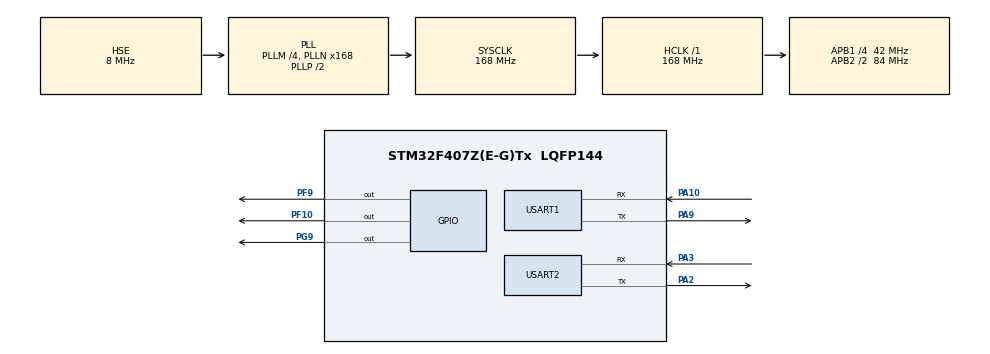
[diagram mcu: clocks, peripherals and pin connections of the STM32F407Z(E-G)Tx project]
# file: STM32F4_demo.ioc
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Mcu.Family=STM32F4
Mcu.Name=STM32F407Z(E-G)Tx
Mcu.Package=LQFP144
NVIC.PriorityGroup=NVIC_PRIORITYGROUP_4
NVIC.TIM6_DAC_IRQn=true\:0\:0\:false\:false\:true\:true\:true\:true
NVIC.TIM7_IRQn=true\:0\:0\:false\:false\:true\:true\:true\:true
NVIC.USART1_IRQn=true\:0\:0\:false\:false\:true\:true\:true\:true
NVIC.USART2_IRQn=true\:0\:0\:false\:false\:true\:true\:true\:true
PA10.Mode=Asynchronous
PA10.Signal=USART1_RX
PA13.Mode=Serial_Wire
PA13.Signal=SYS_JTMS-SWDIO
PA14.Mode=Serial_Wire
PA14.Signal=SYS_JTCK-SWCLK
PA2.Mode=Asynchronous
PA2.Signal=USART2_TX
PA3.Mode=Asynchronous
PA3.Signal=USART2_RX
PA9.Mode=Asynchronous
PA9.Signal=USART1_TX
PC14-OSC32_IN.Mode=LSE-External-Oscillator
PC14-OSC32_IN.Signal=RCC_OSC32_IN
PC15-OSC32_OUT.Mode=LSE-External-Oscillator
PC15-OSC32_OUT.Signal=RCC_OSC32_OUT
PF10.Signal=GPIO_Output
PF9.Signal=GPIO_Output
PG9.Signal=GPIO_Output
PH0-OSC_IN.Mode=HSE-External-Oscillator
PH0-OSC_IN.Signal=RCC_OSC_IN
PH1-OSC_OUT.Mode=HSE-External-Oscillator
PH1-OSC_OUT.Signal=RCC_OSC_OUT
ProjectManager.HeapSize=0x200
ProjectManager.StackSize=0x400
ProjectManager.TargetToolchain=MDK-ARM V5.32
RCC.48MHZClocksFreq_Value=84000000
RCC.AHBFreq_Value=168000000
RCC.APB1CLKDivider=RCC_HCLK_DIV4
RCC.APB1Freq_Value=42000000
RCC.APB1TimFreq_Value=84000000
RCC.APB2CLKDivider=RCC_HCLK_DIV2
RCC.APB2Freq_Value=84000000
RCC.APB2TimFreq_Value=168000000
RCC.CortexFreq_Value=168000000
RCC.HCLKFreq_Value=168000000
RCC.HSE_VALUE=8000000
RCC.HSI_VALUE=16000000
RCC.PLLM=4
RCC.PLLN=168
RCC.PLLSourceVirtual=RCC_PLLSOURCE_HSE
RCC.SYSCLKFreq_VALUE=168000000
RCC.SYSCLKSource=RCC_SYSCLKSOURCE_PLLCLK
RCC.VCOOutputFreq_Value=336000000
TIM6.Period=1000-1
TIM6.Prescaler=84-1
TIM7.Prescaler=84-1
USART1.VirtualMode=VM_ASYNC
USART2.VirtualMode=VM_ASYNC
VP_TIM6_VS_ClockSourceINT.Mode=Enable_Timer
VP_TIM7_VS_ClockSourceINT.Mode=Enable_Timer
board=custom

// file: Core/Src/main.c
/* USER CODE BEGIN Header */
/**
  ******************************************************************************
  * @file           : main.c
  * @brief          : Main program body
  ******************************************************************************
  * @attention
  *
  * Copyright (c) 2023 STMicroelectronics.
  * All rights reserved.
  *
  * This software is licensed under terms that can be found in the LICENSE file
  * in the root directory of this software component.
  * If no LICENSE file comes with this software, it is provided AS-IS.
  *
  ******************************************************************************
  */
/* USER CODE END Header */
#include "main.h"
#include "tim.h"
#include "usart.h"
#include "gpio.h"

/* USER CODE BEGIN Includes */
#include "DHT11.h"

/* USER CODE END Includes */

/* USER CODE BEGIN PTD */
//#define DEBUG_LOG_1  1 //寻找项目bug使用
//#define DEBUG_LOG_Tx  1
#define DEBUG_LOG_Rx  1
/* USER CODE END PTD */

void SystemClock_Config(void);

int main(void)
{

  /* MCU Configuration--------------------------------------------------------*/

  /* Reset of all peripherals, Initializes the Flash interface and the Systick. */
  HAL_Init();

  /* Configure the system clock */
  SystemClock_Config();

  /* Initialize all configured peripherals */
  MX_GPIO_Init();
  MX_TIM6_Init();
  MX_USART1_UART_Init();
  MX_USART2_UART_Init();
  MX_TIM7_Init();
  /* USER CODE BEGIN 2 */
	extern TIM6_delayTypeDef TIM6_delay;
	extern USART_DataStruct UART2_Rx_Buffer;
	USART_DataStruct UART2_Tx_Buffer = {0xAA, 0x55, 0x00, 0x00, 0x66};

	HAL_TIM_Base_Start_IT(&htim6); // 启动定时器TIM6
	HAL_TIM_Base_Start_IT(&htim7); // 启动定时器TIM7
	HAL_UART_Receive_IT(&huart2,&UART2_Rx_Buffer.RxBuf,1); 		//打开串口接收中断

	uint16_t temperature,humidity;
  uint8_t LED_a,LED_b,LED_c,Slider_abc;

	while(DHT11_Init())//等待DHT11的回应,返回1:未检测到DHT11的存在,返回0:存在
	{
		#ifdef DEBUG_LOG_1
		printf("DHT11 Checked faile!!!\r\n");
		#endif
		HAL_Delay(500);
	}
	#ifdef DEBUG_LOG_1
	printf("DHT11 Checked Success!!!\r\n");
	#endif
  /* USER CODE END 2 */

  /* Infinite loop */
  /* USER CODE BEGIN WHILE */
  while (1)
  {
		DHT11_Read_Data(&temperature,&humidity);
		#ifdef DEBUG_LOG_1
		printf("DHT11 Temperature = %d  摄氏度\r\n",temperature);
		printf("DHT11 Humidity = %d  %%\r\n",humidity);
		#endif
		UART2_Tx_Buffer.Data[2] = temperature;
		UART2_Tx_Buffer.Data[3] = humidity;
		if(TIM6_delay.flag_2s == 1)
		{
			#ifdef DEBUG_LOG_Tx
			for(uint8_t i = 0;i < 5;i++)
			{
				printf("UART2_Tx_Buffer.Data[%d] :  %d\r\n",i,UART2_Tx_Buffer.Data[i]);
			}
			#endif

			if(UART2_Rx_Buffer.Flag == 1)//接收完成标志
			{
				UART2_Rx_Buffer.Flag = 0;//接收完成标志清零
				/*获取接收到的数据包中的重要信息*/
				LED_a = UART2_Rx_Buffer.Data[2];
				LED_b = UART2_Rx_Buffer.Data[3];
				LED_c = UART2_Rx_Buffer.Data[4];
				Slider_abc = UART2_Rx_Buffer.Data[5];

				for(uint8_t i = 0;i < 7;i++)
				{
					#ifdef DEBUG_LOG_Rx
					printf("UART2_Tx_Buffer.Data[%d] :  %d\r\n",i,UART2_Rx_Buffer.Data[i]);
					#endif
					UART2_Rx_Buffer.Data[i] = 0;//清空数组，这很重要
				}
			}
			HAL_UART_Transmit_IT(&huart2,UART2_Tx_Buffer.Data,5);
			TIM6_delay.flag_2s = 0;
		}

    /* USER CODE END WHILE */

  }
}

void SystemClock_Config(void)
{
  RCC_OscInitTypeDef RCC_OscInitStruct = {0};
  RCC_ClkInitTypeDef RCC_ClkInitStruct = {0};

  /** Configure the main internal regulator output voltage
  */
  __HAL_RCC_PWR_CLK_ENABLE();
  __HAL_PWR_VOLTAGESCALING_CONFIG(PWR_REGULATOR_VOLTAGE_SCALE1);

  /** Initializes the RCC Oscillators according to the specified parameters
  * in the RCC_OscInitTypeDef structure.
  */
  RCC_OscInitStruct.OscillatorType = RCC_OSCILLATORTYPE_HSE;
  RCC_OscInitStruct.HSEState = RCC_HSE_ON;
  RCC_OscInitStruct.PLL.PLLState = RCC_PLL_ON;
  RCC_OscInitStruct.PLL.PLLSource = RCC_PLLSOURCE_HSE;
  RCC_OscInitStruct.PLL.PLLM = 4;
  RCC_OscInitStruct.PLL.PLLN = 168;
  RCC_OscInitStruct.PLL.PLLP = RCC_PLLP_DIV2;
  RCC_OscInitStruct.PLL.PLLQ = 4;
  if (HAL_RCC_OscConfig(&RCC_OscInitStruct) != HAL_OK)
  {
    Error_Handler();
  }

  /** Initializes the CPU, AHB and APB buses clocks
  */
  RCC_ClkInitStruct.ClockType = RCC_CLOCKTYPE_HCLK|RCC_CLOCKTYPE_SYSCLK
                              |RCC_CLOCKTYPE_PCLK1|RCC_CLOCKTYPE_PCLK2;
  RCC_ClkInitStruct.SYSCLKSource = RCC_SYSCLKSOURCE_PLLCLK;
  RCC_ClkInitStruct.AHBCLKDivider = RCC_SYSCLK_DIV1;
  RCC_ClkInitStruct.APB1CLKDivider = RCC_HCLK_DIV4;
  RCC_ClkInitStruct.APB2CLKDivider = RCC_HCLK_DIV2;

  if (HAL_RCC_ClockConfig(&RCC_ClkInitStruct, FLASH_LATENCY_5) != HAL_OK)
  {
    Error_Handler();
  }
}

void Error_Handler(void)
{
  __disable_irq();
  while (1)
  {
  }
}
